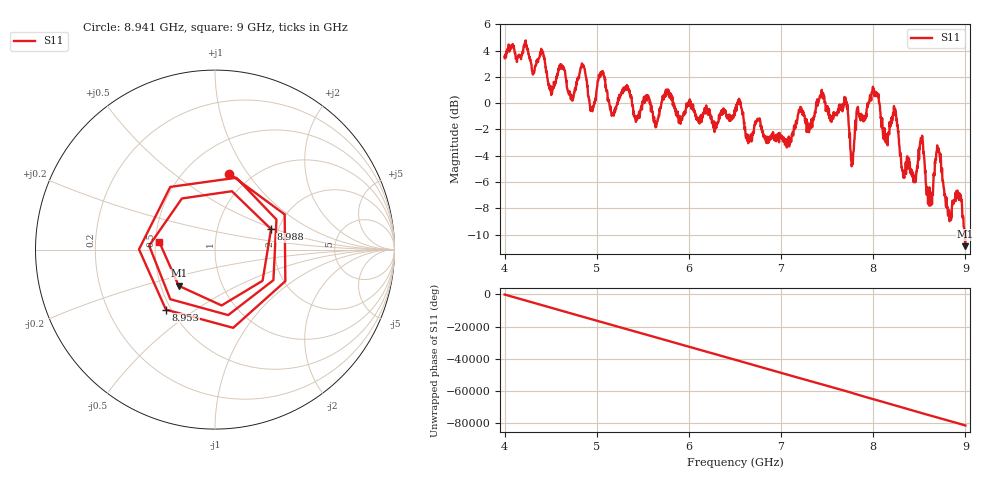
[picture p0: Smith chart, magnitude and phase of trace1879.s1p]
! Created with skrf 1.8.0 (http://scikit-rf.org).
# Hz S RI R 50.0
!freq ReS11 ImS11
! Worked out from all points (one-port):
!   1601 points, 4 GHz to 9 GHz, reference 50 ohm
!   lowest |S11| = -10.9 dB at 8.997 GHz (marker M1), VSWR 1.80, Z = 30.9 - j13.6 ohm
!   |S11| at or under -10 dB: 8.991536 GHz to end of sweep
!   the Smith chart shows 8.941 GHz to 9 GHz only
!   S11 on the Smith chart (normalised r, x): 8.941 GHz: 0.79, +0.83; 8.953 GHz: 0.47, -0.39; 8.988 GHz: 1.83, +0.47; 9 GHz: 0.52, +0.05
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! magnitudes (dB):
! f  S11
! 4 GHz  3.5
! 4.409 GHz  4.0
! 4.506 GHz  0.6
! 4.625 GHz  2.6
! 4.725 GHz  0.5
! 4.853 GHz  2.8
! 4.947 GHz  -0.4
! 5.047 GHz  2.2
! 5.166 GHz  -0.8
! 5.25 GHz  0.4
! 5.875 GHz  -1.0
! 6.5 GHz  -0.7
! 7.125 GHz  -2.2
! 7.444 GHz  0.5
! 7.703 GHz  0.0
! 7.75 GHz  -3.4
! 8.009 GHz  0.9
! 8.375 GHz  -4.3
! 8.447 GHz  -5.9
! 8.525 GHz  -2.8
! 8.619 GHz  -7.2
! 8.709 GHz  -3.4
! 8.825 GHz  -8.9
! 8.941 GHz  -7.3
! 8.953 GHz  -7.3
! 8.988 GHz  -9.6
! 8.997 GHz  -10.9
! 9 GHz  -10.1
